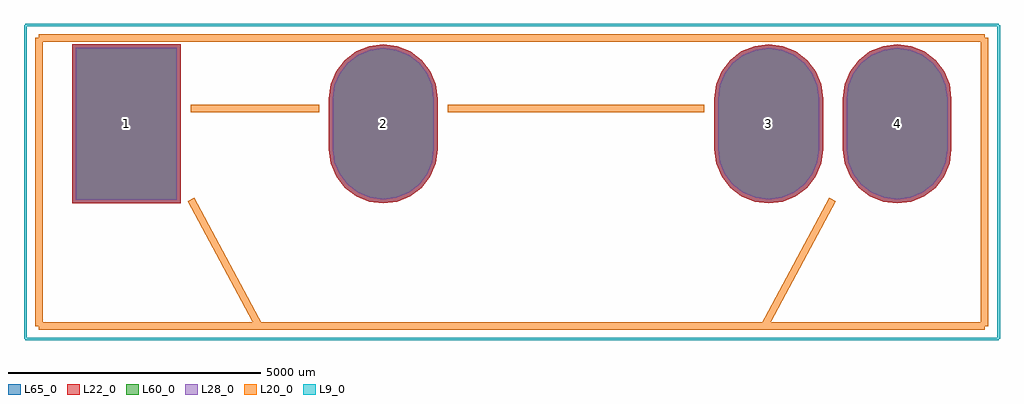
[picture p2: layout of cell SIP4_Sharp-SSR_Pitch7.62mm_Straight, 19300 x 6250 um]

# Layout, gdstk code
import gdstk
lib = gdstk.Library(unit=1e-6, precision=1e-09)
def R(c, l, rs):  # rectangles x0, y0, x1, y1
    for r in rs: c.add(gdstk.rectangle(r[:2], r[2:], *l))
def P(c, l, *ps):  # polygons
    for p in ps: c.add(gdstk.Polygon(p, *l))
L9_0 = (9, 0)
L20_0 = (20, 0)
L22_0 = (22, 0)
L28_0 = (28, 0)
L60_0 = (60, 0)
L65_0 = (65, 0)

sip4_sharp_ssr_pitch7_62 = lib.new_cell('SIP4_Sharp-SSR_Pitch7.62mm_Straight')
R(sip4_sharp_ssr_pitch7_62, L22_0, [(-1075,-1575,1075,1575)])
P(sip4_sharp_ssr_pitch7_62, L22_0, [(15240,-1575),(15518.23,-1538.37),(15777.5,-1430.977),(16000.14,-1260.14),(16170.977,-1037.5),(16278.37,-778.23),(16315,-500),(16315,500),(16278.37,778.23),(16170.977,1037.5),(16000.14,1260.14),(15777.5,1430.977),(15518.23,1538.37),(15240,1575),(14961.77,1538.37),(14702.5,1430.977),(14479.86,1260.14),(14309.023,1037.5),(14201.63,778.23),(14165,500),(14165,-500),(14201.63,-778.23),(14309.023,-1037.5),(14479.86,-1260.14),(14702.5,-1430.977),(14961.77,-1538.37)],
  [(12700,-1575),(12978.23,-1538.37),(13237.5,-1430.977),(13460.14,-1260.14),(13630.977,-1037.5),(13738.37,-778.23),(13775,-500),(13775,500),(13738.37,778.23),(13630.977,1037.5),(13460.14,1260.14),(13237.5,1430.977),(12978.23,1538.37),(12700,1575),(12421.77,1538.37),(12162.5,1430.977),(11939.86,1260.14),(11769.023,1037.5),(11661.63,778.23),(11625,500),(11625,-500),(11661.63,-778.23),(11769.023,-1037.5),(11939.86,-1260.14),(12162.5,-1430.977),(12421.77,-1538.37)],
  [(5080,-1575),(5358.23,-1538.37),(5617.5,-1430.977),(5840.14,-1260.14),(6010.977,-1037.5),(6118.37,-778.23),(6155,-500),(6155,500),(6118.37,778.23),(6010.977,1037.5),(5840.14,1260.14),(5617.5,1430.977),(5358.23,1538.37),(5080,1575),(4801.77,1538.37),(4542.5,1430.977),(4319.86,1260.14),(4149.023,1037.5),(4041.63,778.23),(4005,500),(4005,-500),(4041.63,-778.23),(4149.023,-1037.5),(4319.86,-1260.14),(4542.5,-1430.977),(4801.77,-1538.37)])
R(sip4_sharp_ssr_pitch7_62, L28_0, [(-1000,-1500,1000,1500)])
P(sip4_sharp_ssr_pitch7_62, L28_0, [(15240,-1500),(15498.819,-1465.926),(15740,-1366.025),(15947.107,-1207.107),(16106.025,-1000),(16205.926,-758.819),(16240,-500),(16240,500),(16205.926,758.819),(16106.025,1000),(15947.107,1207.107),(15740,1366.025),(15498.819,1465.926),(15240,1500),(14981.181,1465.926),(14740,1366.025),(14532.893,1207.107),(14373.975,1000),(14274.074,758.819),(14240,500),(14240,-500),(14274.074,-758.819),(14373.975,-1000),(14532.893,-1207.107),(14740,-1366.025),(14981.181,-1465.926)],
  [(12700,-1500),(12958.819,-1465.926),(13200,-1366.025),(13407.107,-1207.107),(13566.025,-1000),(13665.926,-758.819),(13700,-500),(13700,500),(13665.926,758.819),(13566.025,1000),(13407.107,1207.107),(13200,1366.025),(12958.819,1465.926),(12700,1500),(12441.181,1465.926),(12200,1366.025),(11992.893,1207.107),(11833.975,1000),(11734.074,758.819),(11700,500),(11700,-500),(11734.074,-758.819),(11833.975,-1000),(11992.893,-1207.107),(12200,-1366.025),(12441.181,-1465.926)],
  [(5080,-1500),(5338.819,-1465.926),(5580,-1366.025),(5787.107,-1207.107),(5946.025,-1000),(6045.926,-758.819),(6080,-500),(6080,500),(6045.926,758.819),(5946.025,1000),(5787.107,1207.107),(5580,1366.025),(5338.819,1465.926),(5080,1500),(4821.181,1465.926),(4580,1366.025),(4372.893,1207.107),(4213.975,1000),(4114.074,758.819),(4080,500),(4080,-500),(4114.074,-758.819),(4213.975,-1000),(4372.893,-1207.107),(4580,-1366.025),(4821.181,-1465.926)])
R(sip4_sharp_ssr_pitch7_62, L60_0, [(-1000,-1500,1000,1500)])
P(sip4_sharp_ssr_pitch7_62, L60_0, [(15240,-1500),(15498.819,-1465.926),(15740,-1366.025),(15947.107,-1207.107),(16106.025,-1000),(16205.926,-758.819),(16240,-500),(16240,500),(16205.926,758.819),(16106.025,1000),(15947.107,1207.107),(15740,1366.025),(15498.819,1465.926),(15240,1500),(14981.181,1465.926),(14740,1366.025),(14532.893,1207.107),(14373.975,1000),(14274.074,758.819),(14240,500),(14240,-500),(14274.074,-758.819),(14373.975,-1000),(14532.893,-1207.107),(14740,-1366.025),(14981.181,-1465.926)],
  [(12700,-1500),(12958.819,-1465.926),(13200,-1366.025),(13407.107,-1207.107),(13566.025,-1000),(13665.926,-758.819),(13700,-500),(13700,500),(13665.926,758.819),(13566.025,1000),(13407.107,1207.107),(13200,1366.025),(12958.819,1465.926),(12700,1500),(12441.181,1465.926),(12200,1366.025),(11992.893,1207.107),(11833.975,1000),(11734.074,758.819),(11700,500),(11700,-500),(11734.074,-758.819),(11833.975,-1000),(11992.893,-1207.107),(12200,-1366.025),(12441.181,-1465.926)],
  [(5080,-1500),(5338.819,-1465.926),(5580,-1366.025),(5787.107,-1207.107),(5946.025,-1000),(6045.926,-758.819),(6080,-500),(6080,500),(6045.926,758.819),(5946.025,1000),(5787.107,1207.107),(5580,1366.025),(5338.819,1465.926),(5080,1500),(4821.181,1465.926),(4580,1366.025),(4372.893,1207.107),(4213.975,1000),(4114.074,758.819),(4080,500),(4080,-500),(4114.074,-758.819),(4213.975,-1000),(4372.893,-1207.107),(4580,-1366.025),(4821.181,-1465.926)])
R(sip4_sharp_ssr_pitch7_62, L65_0, [(-1075,-1575,1075,1575)])
P(sip4_sharp_ssr_pitch7_62, L65_0, [(15240,-1575),(15518.23,-1538.37),(15777.5,-1430.977),(16000.14,-1260.14),(16170.977,-1037.5),(16278.37,-778.23),(16315,-500),(16315,500),(16278.37,778.23),(16170.977,1037.5),(16000.14,1260.14),(15777.5,1430.977),(15518.23,1538.37),(15240,1575),(14961.77,1538.37),(14702.5,1430.977),(14479.86,1260.14),(14309.023,1037.5),(14201.63,778.23),(14165,500),(14165,-500),(14201.63,-778.23),(14309.023,-1037.5),(14479.86,-1260.14),(14702.5,-1430.977),(14961.77,-1538.37)],
  [(12700,-1575),(12978.23,-1538.37),(13237.5,-1430.977),(13460.14,-1260.14),(13630.977,-1037.5),(13738.37,-778.23),(13775,-500),(13775,500),(13738.37,778.23),(13630.977,1037.5),(13460.14,1260.14),(13237.5,1430.977),(12978.23,1538.37),(12700,1575),(12421.77,1538.37),(12162.5,1430.977),(11939.86,1260.14),(11769.023,1037.5),(11661.63,778.23),(11625,500),(11625,-500),(11661.63,-778.23),(11769.023,-1037.5),(11939.86,-1260.14),(12162.5,-1430.977),(12421.77,-1538.37)],
  [(5080,-1575),(5358.23,-1538.37),(5617.5,-1430.977),(5840.14,-1260.14),(6010.977,-1037.5),(6118.37,-778.23),(6155,-500),(6155,500),(6118.37,778.23),(6010.977,1037.5),(5840.14,1260.14),(5617.5,1430.977),(5358.23,1538.37),(5080,1575),(4801.77,1538.37),(4542.5,1430.977),(4319.86,1260.14),(4149.023,1037.5),(4041.63,778.23),(4005,500),(4005,-500),(4041.63,-778.23),(4149.023,-1037.5),(4319.86,-1260.14),(4542.5,-1430.977),(4801.77,-1538.37)])
sip4_sharp_ssr_pitch7_62.add(gdstk.FlexPath([(-1730,-4000),(-1730,1700)], 149.998, ends="flush", simple_path=True, layer=20, datatype=0))  # L20_0
sip4_sharp_ssr_pitch7_62.add(gdstk.FlexPath([(16970,-4000),(-1730,-4000)], 149.998, ends="flush", simple_path=True, layer=20, datatype=0))  # L20_0
sip4_sharp_ssr_pitch7_62.add(gdstk.FlexPath([(16970,1700),(16970,-4000)], 149.998, ends="flush", simple_path=True, layer=20, datatype=0))  # L20_0
sip4_sharp_ssr_pitch7_62.add(gdstk.FlexPath([(-1730,1700),(16970,1700)], 149.998, ends="flush", simple_path=True, layer=20, datatype=0))  # L20_0
sip4_sharp_ssr_pitch7_62.add(gdstk.FlexPath([(12620,-4000),(13960,-1500)], 149.998, ends="flush", simple_path=True, layer=20, datatype=0))  # L20_0
sip4_sharp_ssr_pitch7_62.add(gdstk.FlexPath([(2620,-4000),(1280,-1500)], 149.998, ends="flush", simple_path=True, layer=20, datatype=0))  # L20_0
sip4_sharp_ssr_pitch7_62.add(gdstk.FlexPath([(-2000,1950),(17250,1950)], 50, ends="flush", simple_path=True, layer=9, datatype=0))  # L9_0
sip4_sharp_ssr_pitch7_62.add(gdstk.FlexPath([(-2000,-4250),(-2000,1950)], 50, ends="flush", simple_path=True, layer=9, datatype=0))  # L9_0
sip4_sharp_ssr_pitch7_62.add(gdstk.FlexPath([(17250,-4250),(-2000,-4250)], 50, ends="flush", simple_path=True, layer=9, datatype=0))  # L9_0
sip4_sharp_ssr_pitch7_62.add(gdstk.FlexPath([(17250,1950),(17250,-4250)], 50, ends="flush", simple_path=True, layer=9, datatype=0))  # L9_0
sip4_sharp_ssr_pitch7_62.add(gdstk.FlexPath([(6350,300),(11430,300)], 149.998, ends="flush", simple_path=True, layer=20, datatype=0))  # L20_0
sip4_sharp_ssr_pitch7_62.add(gdstk.FlexPath([(1270,300),(3810,300)], 149.998, ends="flush", simple_path=True, layer=20, datatype=0))  # L20_0
sip4_sharp_ssr_pitch7_62.add(gdstk.Label('4', (15240,0), layer=28, texttype=0))
sip4_sharp_ssr_pitch7_62.add(gdstk.Label('3', (12700,0), layer=28, texttype=0))
sip4_sharp_ssr_pitch7_62.add(gdstk.Label('2', (5080,0), layer=28, texttype=0))
sip4_sharp_ssr_pitch7_62.add(gdstk.Label('1', (0,0), layer=28, texttype=0))
sip4_sharp_ssr_pitch7_62.add(gdstk.Label('type', (7620,-5000), layer=9, texttype=0))
sip4_sharp_ssr_pitch7_62.add(gdstk.Label('devicename', (508,2540), layer=9, texttype=0))

lib.write_gds('SIP4_Sharp-SSR_Pitch7.62mm_Straight.gds')
